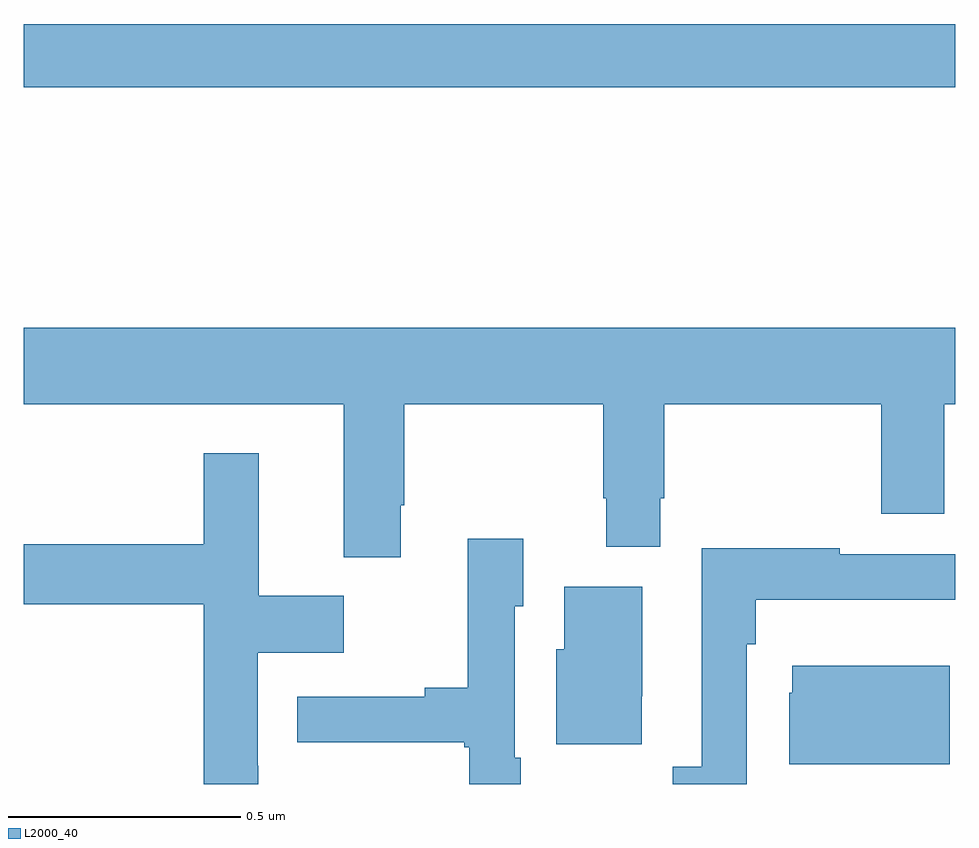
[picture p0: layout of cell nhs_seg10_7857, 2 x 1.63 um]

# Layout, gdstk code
import gdstk
lib = gdstk.Library(unit=1e-6, precision=1e-09)
def R(c, l, rs):  # rectangles x0, y0, x1, y1
    for r in rs: c.add(gdstk.rectangle(r[:2], r[2:], *l))
def P(c, l, *ps):  # polygons
    for p in ps: c.add(gdstk.Polygon(p, *l))
L2000_40 = (2000, 40)

nhs_seg10_7857 = lib.new_cell('nhs_seg10_7857')
R(nhs_seg10_7857, L2000_40, [(209,1300.996,211,1301.132)])
P(nhs_seg10_7857, L2000_40, [(209.809,1300.099),(209.817,1300.099),(209.817,1300.316),(210.244,1300.316),(210.244,1300.114),(210.251,1300.114),(210.251,1300.009),(210.367,1300.009),(210.367,1300.114),(210.375,1300.114),(210.375,1300.316),(210.841,1300.316),(210.841,1300.08),(210.976,1300.08),(210.976,1300.316),(211,1300.316),(211,1300.48),(209,1300.48),(209,1300.316),(209.687,1300.316),(209.687,1299.987),(209.809,1299.987)],
  [(209.503,1299.539),(209.502,1299.539),(209.502,1299.782),(209.687,1299.782),(209.687,1299.904),(209.504,1299.904),(209.504,1300.21),(209.386,1300.21),(209.386,1300.015),(209,1300.015),(209,1299.886),(209.386,1299.886),(209.386,1299.5),(209.503,1299.5)],
  [(210.067,1299.556),(210.054,1299.556),(210.054,1299.882),(210.073,1299.882),(210.073,1300.027),(209.953,1300.027),(209.953,1299.707),(209.861,1299.707),(209.861,1299.687),(209.587,1299.687),(209.587,1299.59),(209.946,1299.59),(209.946,1299.579),(209.957,1299.579),(209.957,1299.5),(210.067,1299.5)],
  [(210.552,1299.8),(210.572,1299.8),(210.572,1299.896),(211,1299.896),(211,1299.993),(210.752,1299.993),(210.752,1300.006),(210.456,1300.006),(210.456,1299.537),(210.393,1299.537),(210.393,1299.5),(210.552,1299.5)],
  [(210.327,1299.688),(210.328,1299.688),(210.328,1299.924),(210.161,1299.924),(210.161,1299.789),(210.143,1299.789),(210.143,1299.585),(210.327,1299.585)],
  [(210.988,1299.754),(210.65,1299.754),(210.65,1299.696),(210.644,1299.696),(210.644,1299.542),(210.988,1299.542)])

lib.write_gds('nhs_seg10_7857.gds')
